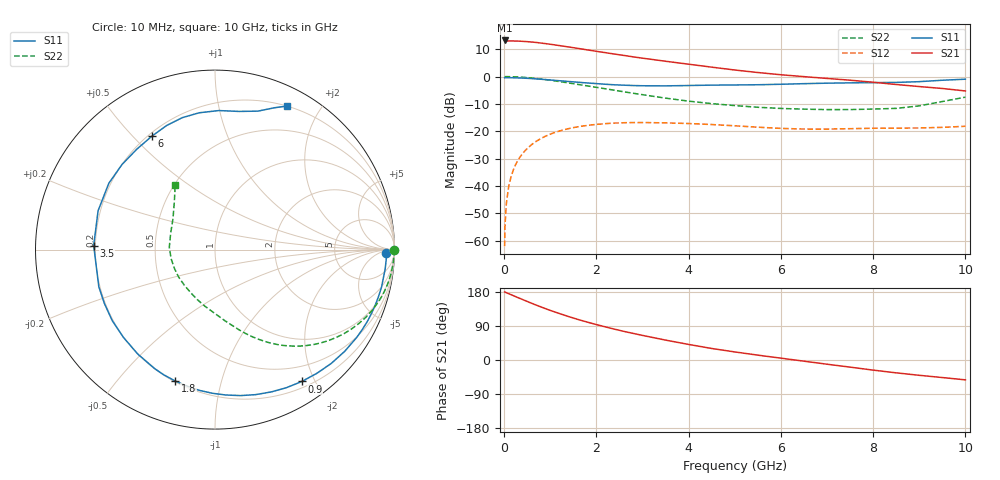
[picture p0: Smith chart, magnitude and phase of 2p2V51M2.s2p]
! (c) 2009  Infineon Technologies AG, Munich
! Infineon Technologies  Discrete & RF Semiconductors
! BFP420
! VCE =  2.5 V,  IC =  1.2 mA
! Common Emitter S-Parameters:  Nov 2009
# GHz  S  MA  R  50
!  f  S11  S21  S12  S22
! GHz  MAG  ANG  MAG  ANG  MAG  ANG  MAG  ANG
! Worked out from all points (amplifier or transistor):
!   46 points, 10 MHz to 10 GHz, reference 50 ohm
!   highest |S21| = 13.2 dB at 10 MHz (marker M1)
!   |S21| within 3 dB of that: start of sweep to 1.638 GHz
!   unconditionally stable (mu >= 1): 4.265 GHz to end of sweep
!   at 300 MHz: K = 0.03, MSG = 21.7 dB, |S12| = -30.5 dB
!   at 1.7 GHz: K = 0.29, MSG = 14.0 dB, |S12| = -18.1 dB
!   at 10 GHz: K = 1.30, MAG = 3.1 dB, |S12| = -18.2 dB
!   lowest NFmin = 0.53 dB at 900 MHz
!   S11 on the Smith chart (normalised r, x): 10 MHz: 36, -14; 900 MHz: 0.28, -1.82; 1.8 GHz: 0.20, -0.72; 3.5 GHz: 0.19, +0.02; 6 GHz: 0.21, +0.57; 10 GHz: 0.20, +1.60
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0.01  0.9531 -1.1  4.563 179.4  0.0008 64.7  0.9968 0.0
0.02  0.9555 -1.2  4.416 179.4  0.002 88.4  0.9968 -0.6
0.05  0.9555 -3.4  4.445 177.4  0.005 89.3  0.9972 -1.7
0.1  0.9542 -6.5  4.474 174.9  0.01 86.2  0.996 -3.6
0.2  0.9512 -12.7  4.469 169.8  0.0198 82.6  0.9907 -7.2
0.4  0.9383 -25.4  4.396 159.6  0.0393 75.0  0.9708 -14.2
0.6  0.9184 -38.1  4.267 149.5  0.0576 67.3  0.9399 -21.0
0.9  0.8798 -56.6  3.992 135.3  0.0817 56.6  0.8788 -30.3
1.1  0.8525 -68.5  3.782 126.7  0.0953 50.0  0.8334 -36.0
1.3  0.8257 -80.1  3.571 118.5  0.1071 43.7  0.7871 -41.3
1.7  0.7754 -101.9  3.171 103.5  0.1249 32.4  0.6971 -50.5
1.8  0.7646 -106.9  3.069 100.1  0.128 29.8  0.6763 -52.5
2.2  0.7237 -126.5  2.726 87.2  0.1383 20.3  0.5972 -60.1
2.6  0.6959 -145.4  2.427 75.4  0.1436 11.7  0.5264 -67.0
3  0.6795 -162.3  2.168 64.9  0.1448 4.4  0.4667 -73.3
3.5  0.6763 178.1  1.903 52.5  0.1427 -3.3  0.4038 -81.5
4.5  0.6975 148.0  1.485 30.4  0.1331 -14.6  0.3207 -100.0
5.5  0.709 127.9  1.185 12.8  0.119 -20.6  0.275 -119.8
6  0.7233 119.1  1.079 4.9  0.1131 -21.3  0.2616 -130.9
7  0.7573 104.0  0.924 -11.1  0.1099 -20.4  0.2493 -154.6
8.5  0.7816 80.0  0.716 -33.9  0.1143 -22.4  0.2625 160.4
10  0.8955 63.3  0.546 -52.4  0.1237 -22.7  0.4211 121.8
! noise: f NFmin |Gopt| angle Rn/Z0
0.9  0.53  0.62  33  0.31
1.8  1.1  0.4  77  0.24
2.4  1.23  0.41  100  0.2
3  1.51  0.41  132  0.14
4  1.8  0.44  -175  0.09
5  2.23  0.45  -132  0.38
6  3.18  0.57  -116  0.44
